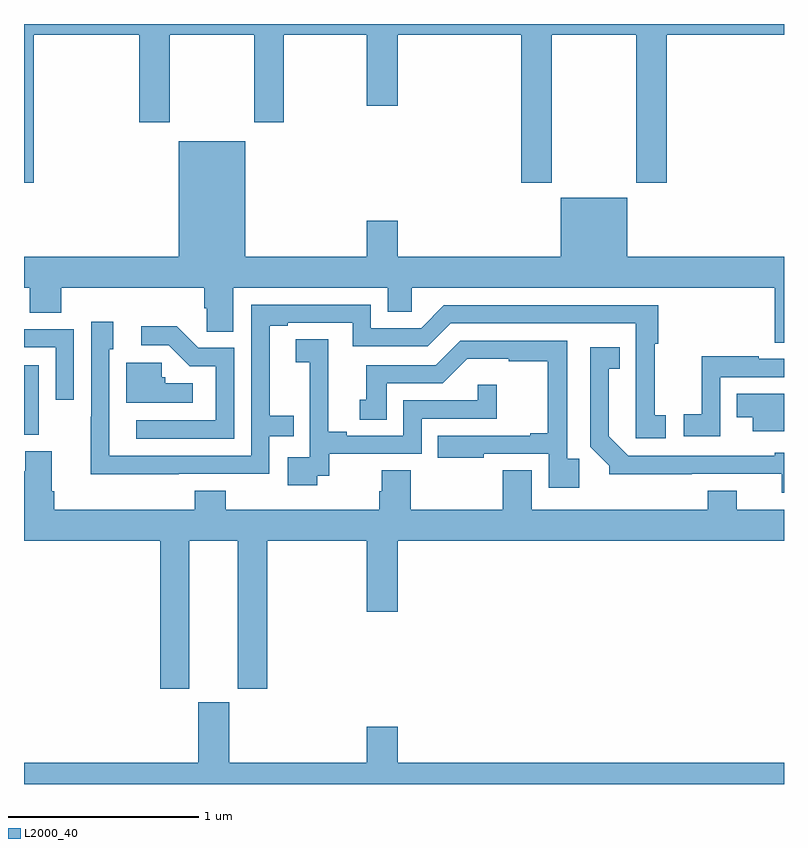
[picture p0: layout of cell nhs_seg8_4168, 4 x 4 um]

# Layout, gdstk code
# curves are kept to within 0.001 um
import gdstk
lib = gdstk.Library(unit=1e-6, precision=1e-09)
def R(c, l, rs):  # rectangles x0, y0, x1, y1
    for r in rs: c.add(gdstk.rectangle(r[:2], r[2:], *l))
def P(c, l, *ps):  # polygons
    for p in ps: c.add(gdstk.Polygon(p, *l))
L2000_40 = (2000, 40)

nhs_seg8_4168 = lib.new_cell('nhs_seg8_4168')
R(nhs_seg8_4168, L2000_40, [(367,1103.737,367.078,1104.103)])
P(nhs_seg8_4168, L2000_40, [(367.052,1105.844),(367.607,1105.844),(367.607,1105.383),(367.767,1105.383),(367.767,1105.844),(368.212,1105.844),(368.212,1105.383),(368.367,1105.383),(368.367,1105.844),(368.804,1105.844),(368.804,1105.47),(368.968,1105.47),(368.968,1105.844),(369.617,1105.844),(369.617,1105.065),(369.777,1105.065),(369.777,1105.844),(370.222,1105.844),(370.222,1105.065),(370.382,1105.065),(370.382,1105.844),(371,1105.844),(371,1105.9),(367,1105.9),(367,1105.065),(367.052,1105.065)],
  [(371,1104.676),(370.174,1104.676),(370.174,1104.985),(369.824,1104.985),(369.824,1104.676),(368.968,1104.676),(368.968,1104.865),(368.804,1104.865),(368.804,1104.676),(368.164,1104.676),(368.164,1105.282),(367.814,1105.282),(367.814,1104.676),(367,1104.676),(367,1104.512),(367.031,1104.512),(367.031,1104.379),(367.196,1104.379),(367.196,1104.512),(367.949,1104.512),(367.949,1104.403),(367.962,1104.403),(367.962,1104.28),(368.101,1104.28),(368.101,1104.512),(368.915,1104.512),(368.915,1104.385),(369.042,1104.385),(369.042,1104.512),(370.952,1104.512),(370.952,1104.223),(371,1104.223)],
  [(367.814,1103.532),(368.292,1103.532),(368.292,1103.73),(368.42,1103.73),(368.42,1103.839),(368.293,1103.839),(368.293,1104.312),(368.389,1104.312),(368.389,1104.327),(368.73,1104.327),(368.73,1104.204),(369.126,1104.204),(369.246,1104.324),(370.221,1104.324),(370.22,1103.721),(370.378,1103.721),(370.378,1103.841),(370.32,1103.841),(370.32,1104.217),(370.337,1104.217),(370.337,1104.42),(369.21,1104.42),(369.09,1104.3),(368.826,1104.3),(368.826,1104.423),(368.196,1104.423),(368.196,1103.628),(367.449,1103.628),(367.449,1104.189),(367.471,1104.189),(367.471,1104.334),(367.353,1104.334),(367.352,1103.531)],
  [(368.106,1104.195),(367.917,1104.195),(367.804,1104.308),(367.617,1104.308),(367.617,1104.21),(367.761,1104.21),(367.872,1104.099),(368.01,1104.099),(368.01,1103.814),(367.59,1103.814),(367.59,1103.718),(368.106,1103.718)],
  [(367.263,1104.294),(367,1104.294),(367,1104.198),(367.167,1104.198),(367.167,1103.922),(367.263,1103.922)],
  [(368.544,1103.523),(368.606,1103.523),(368.606,1103.637),(369.093,1103.637),(369.093,1103.823),(369.488,1103.823),(369.488,1104.001),(369.387,1104.001),(369.387,1103.919),(368.997,1103.919),(368.997,1103.733),(368.698,1103.733),(368.698,1103.753),(368.602,1103.753),(368.602,1104.131),(368.6,1104.131),(368.6,1104.242),(368.43,1104.242),(368.43,1104.121),(368.504,1104.121),(368.504,1103.923),(368.505,1103.923),(368.505,1103.619),(368.388,1103.619),(368.388,1103.472),(368.544,1103.472)],
  [(369.923,1103.611),(369.858,1103.611),(369.858,1104.234),(369.297,1104.234),(369.168,1104.105),(368.801,1104.105),(368.801,1103.922),(368.768,1103.922),(368.768,1103.818),(368.908,1103.818),(368.908,1104.009),(369.204,1104.009),(369.332,1104.137),(369.551,1104.137),(369.551,1104.126),(369.757,1104.126),(369.757,1103.746),(369.665,1103.746),(369.665,1103.733),(369.178,1103.733),(369.178,1103.618),(369.421,1103.618),(369.421,1103.637),(369.762,1103.637),(369.762,1103.46),(369.923,1103.46)],
  [(371,1103.644),(370.95,1103.644),(370.95,1103.628),(370.179,1103.628),(370.078,1103.729),(370.078,1104.086),(370.136,1104.086),(370.136,1104.199),(369.981,1104.199),(369.981,1103.674),(370.08,1103.575),(370.08,1103.531),(370.987,1103.532),(370.987,1103.433),(371,1103.433)],
  [(370.665,1104.042),(371,1104.042),(371,1104.138),(370.868,1104.138),(370.868,1104.151),(370.567,1104.151),(370.567,1103.846),(370.473,1103.846),(370.473,1103.73),(370.665,1103.73)],
  [(367.888,1104.01),(367.744,1104.01),(367.744,1104.042),(367.725,1104.042),(367.725,1104.117),(367.538,1104.117),(367.538,1103.906),(367.888,1103.906)],
  [(371,1103.953),(370.75,1103.953),(370.75,1103.831),(370.835,1103.831),(370.835,1103.756),(371,1103.756)],
  [(367.87,1103.18),(368.126,1103.18),(368.126,1102.401),(368.279,1102.401),(368.279,1103.18),(368.804,1103.18),(368.804,1102.806),(368.968,1102.806),(368.968,1103.18),(371,1103.18),(371,1103.344),(370.75,1103.344),(370.75,1103.443),(370.598,1103.443),(370.598,1103.344),(369.673,1103.344),(369.673,1103.552),(369.521,1103.552),(369.521,1103.344),(369.035,1103.344),(369.035,1103.552),(368.882,1103.552),(368.882,1103.442),(368.87,1103.442),(368.87,1103.344),(368.063,1103.344),(368.063,1103.443),(367.898,1103.443),(367.898,1103.344),(367.16,1103.344),(367.16,1103.44),(367.147,1103.44),(367.147,1103.652),(367.007,1103.652),(367.007,1103.546),(367,1103.546),(367,1103.18),(367.718,1103.18),(367.718,1102.401),(367.87,1102.401)],
  [(371,1102.012),(368.968,1102.012),(368.968,1102.201),(368.804,1102.201),(368.804,1102.012),(368.08,1102.012),(368.08,1102.329),(367.916,1102.329),(367.916,1102.012),(367,1102.012),(367,1101.9),(371,1101.9)])

lib.write_gds('nhs_seg8_4168.gds')
